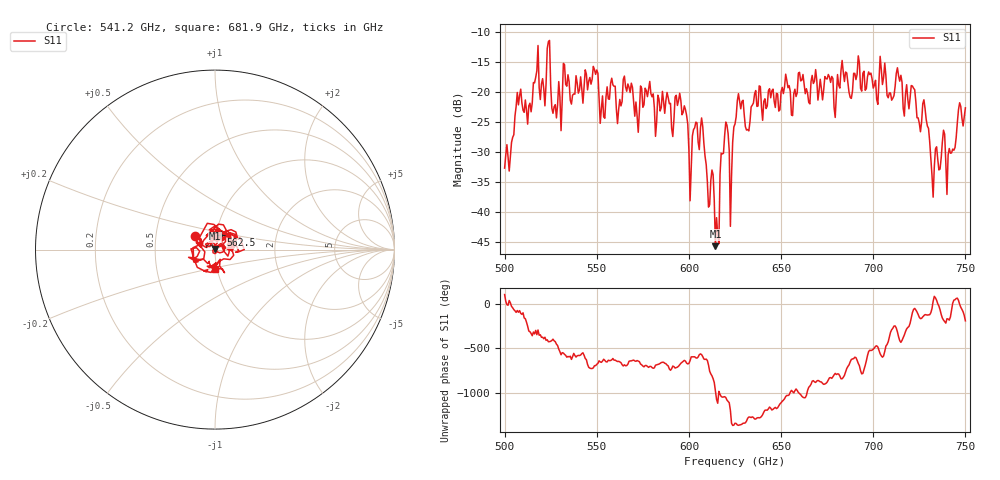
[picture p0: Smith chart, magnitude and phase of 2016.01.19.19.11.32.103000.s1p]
!Created with skrf (http://scikit-rf.org).
# GHz S RI R 50.0
!freq ReS11 ImS11
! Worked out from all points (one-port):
!   401 points, 500 GHz to 750 GHz, reference 50 ohm
!   lowest |S11| = -45.7 dB at 614.4 GHz (marker M1), VSWR 1.01, Z = 49.9 + j0.509 ohm
!   |S11| at or under -10 dB: start of sweep to end of sweep
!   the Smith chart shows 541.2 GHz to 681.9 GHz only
!   S11 on the Smith chart (normalised r, x): 541.2 GHz: 0.79, +0.12; 562.5 GHz: 1.05, +0.17; 681.9 GHz: 0.97, -0.21
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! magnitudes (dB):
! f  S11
! 500 GHz  -32.7
! 516.9 GHz  -17.6
! 520.6 GHz  -17.8
! 523.8 GHz  -11.6
! 526.9 GHz  -22.5
! 531.2 GHz  -21.4
! 541.2 GHz  -17.5
! 549.4 GHz  -17.1
! 553.1 GHz  -20.7
! 558.8 GHz  -18.8
! 562.5 GHz  -21.3
! 565.6 GHz  -19.2
! 593.8 GHz  -22.3
! 600.6 GHz  -38.1
! 607.5 GHz  -25.8
! 614.4 GHz  -45.7
! 615.6 GHz  -43.8
! 619.4 GHz  -27.3
! 623.1 GHz  -33.9
! 625 GHz  -25.3
! 656.2 GHz  -23.9
! 681.9 GHz  -19.4
! 687.5 GHz  -20.9
! 705 GHz  -18.8
! 718.8 GHz  -21.2
! 728.1 GHz  -22.8
! 732.5 GHz  -37.5
! 750 GHz  -22.7
